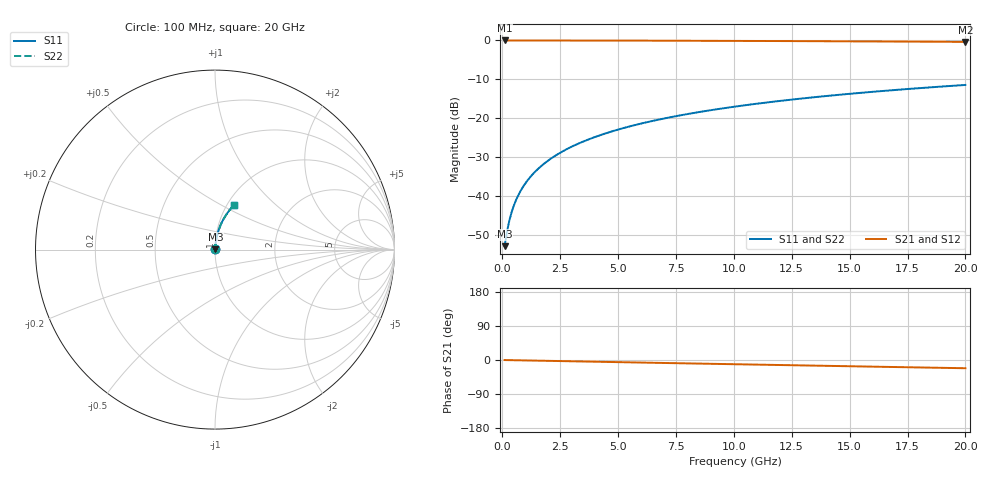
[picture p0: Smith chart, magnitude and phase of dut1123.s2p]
! Touchstone file exported from HFSS 2026.1.0
!  File:  C:/ffzhzh/LocalFiles/Ansys_Project_Files/temp_train_TMRDL_1123_1783161624_18472.aedt
!  Generated:  06:41:45 PM Jul  4, 2026
!  Design:  TMRDL
!  Project:  temp_train_TMRDL_1123_1783161624_18472
! Variables:
!  h_bsmrdl = 2um
!  h_ox = 20um
!  h_rdl = 5um
!  h_sub = 80um
!  h_tmrdl = 3.52um
!  h_tsv = 80um
!  h_via = 3um
!  l_bsmrdl = 300um
!  l_sub = 632.14um
!  l_tmrdl = 232.14um
!  m_sub = 200um
!  pitch = 54.1um
!  r_tsv = 6um
!  s_tmrdl = 10um
!  w_bsmrdl = 18um
!  w_sub = 500um
!  w_tmrdl = 14.81um
!  x_tsv_center1 = 239.545um
!  x_tsv_center2 = 557.545um
!  x_tsv_center3 = 804.495um
!  x_tsv_center4 = 1122.495um
!  x_tsv_center5 = 1369.445um
!  x_tsv_center6 = 1687.445um
# GHz S MA R 50.000000
! Terminal data exported
! Port[1] = TM_RDL1_1_T1
! Port[2] = TM_RDL1_1_T2
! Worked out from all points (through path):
!   200 points, 100 MHz to 20 GHz, reference 50 ohm
!   highest |S21| = -0.02 dB at 100 MHz (marker M1); lowest = -0.4 dB at 20 GHz (marker M2)
!   group delay of S21, straight-line fit = 3.02 ps
!   lowest |S11| = -52.7 dB at 100 MHz (marker M3), VSWR 1.00, Z = 50.2 + j0.151 ohm
!   |S11| at or under -10 dB: start of sweep to end of sweep
!   |S22| runs from -52.7 to -11.4 dB; largest |S21 - S12| = 5.1e-15
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0.1  0.002308 40.8  0.9983 -0.1  0.9983 -0.1  0.002308 40.8
! Gamma 0 0 0 0
! Port Impedance 50 0 50 0
0.2  0.003496 59.3  0.9982 -0.2  0.9982 -0.2  0.003496 59.3
0.3  0.004848 67.6  0.9982 -0.3  0.9982 -0.3  0.004848 67.6
0.4  0.006245 72.2  0.9981 -0.5  0.9981 -0.5  0.006245 72.2
0.5  0.007656 75.1  0.9981 -0.6  0.9981 -0.6  0.007656 75.1
0.6  0.009074 77.0  0.998 -0.7  0.998 -0.7  0.009074 77.0
0.8  0.01192 79.5  0.9979 -0.9  0.9979 -0.9  0.01192 79.5
1.1  0.01621 81.5  0.9978 -1.3  0.9978 -1.3  0.01621 81.5
1.5  0.02195 82.8  0.9977 -1.7  0.9977 -1.7  0.02195 82.8
1.8  0.02626 83.3  0.9975 -2.0  0.9975 -2.0  0.02626 83.3
2.1  0.03057 83.5  0.9973 -2.4  0.9973 -2.4  0.03057 83.5
2.7  0.03919 83.6  0.9969 -3.1  0.9969 -3.1  0.03919 83.6
3.5  0.05065 83.2  0.9962 -4.0  0.9962 -4.0  0.05065 83.2
4.2  0.06064 82.8  0.9955 -4.8  0.9955 -4.8  0.06064 82.8
5  0.07199 82.1  0.9946 -5.7  0.9946 -5.7  0.07199 82.1
5.9  0.08467 81.3  0.9933 -6.7  0.9933 -6.7  0.08467 81.3
6.8  0.09725 80.4  0.9919 -7.7  0.9919 -7.7  0.09725 80.4
8.3  0.118 78.9  0.9892 -9.3  0.9892 -9.3  0.118 78.9
10.1  0.1425 77.0  0.9856 -11.3  0.9856 -11.3  0.1425 77.0
13.4  0.1862 73.6  0.9775 -14.8  0.9775 -14.8  0.1862 73.6
16.7  0.2283 70.3  0.968 -18.3  0.968 -18.3  0.2283 70.3
20  0.2686 67.0  0.9572 -21.7  0.9572 -21.7  0.2686 67.0
